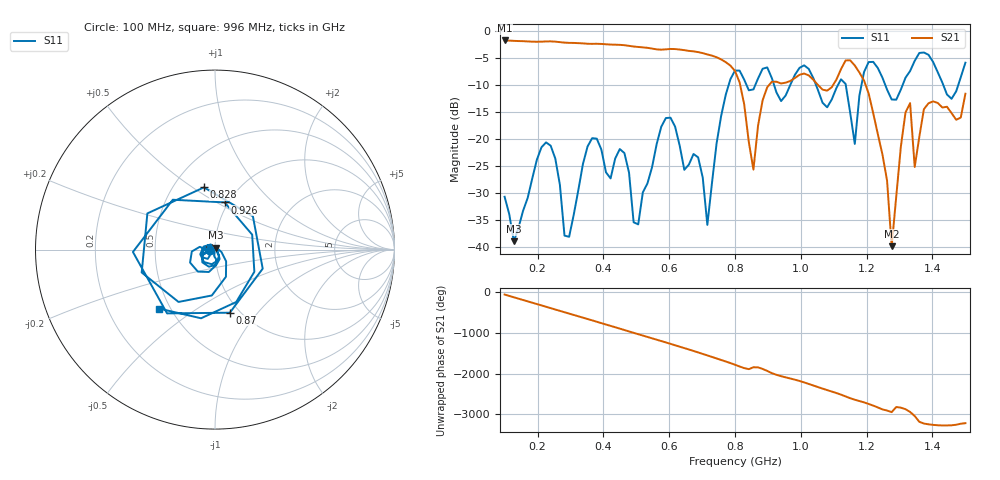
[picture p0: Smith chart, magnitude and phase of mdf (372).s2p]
! NanoVNA-App
! Date: 2025-09-25 15:41:19
! Start: 100MHz Stop: 1,5GHz Points: 101
! S-Parameter data: F S11 S21 S12 S22
# Hz S RI R 50
!  Frequency  S11_Real  S11_Imag  S21_Real  S21_Imag  S12_Real  S12_Imag  S22_Real  S22_Imag
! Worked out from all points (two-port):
!   101 points, 100 MHz to 1.5 GHz, reference 50 ohm
!   highest |S21| = -1.80 dB at 100 MHz (marker M1); lowest = -39.9 dB at 1.276 GHz (marker M2)
!   |S21| within 3 dB of the highest: start of sweep to 739.1 MHz
!   lowest |S11| = -39.0 dB at 128 MHz (marker M3), VSWR 1.02, Z = 50.3 + j1.08 ohm
!   |S11| at or under -10 dB: start of sweep to 781 MHz; 918.5 MHz to 968.3 MHz (49.81 MHz wide, 5.28 % of centre); 1.046 GHz to 1.113 GHz (67.56 MHz wide, 6.26 % of centre) (the widest 3 of 7)
!   S12 and S22 are empty: the file has one direction only
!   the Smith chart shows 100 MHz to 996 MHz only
!   S11 on the Smith chart (normalised r, x): 100 MHz: 0.94, -0.01; 828 MHz: 0.70, +0.56; 870 MHz: 0.90, -0.73; 926 MHz: 0.96, +0.55; 996 MHz: 0.43, -0.36
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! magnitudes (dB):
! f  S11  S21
! 100 MHz  -30.7  -1.8
! 128 MHz  -39.0  -1.9
! 212 MHz  -21.6  -2.0
! 282 MHz  -37.9  -2.2
! 338 MHz  -24.7  -2.3
! 464 MHz  -22.7  -2.7
! 506 MHz  -35.9  -3.0
! 576 MHz  -17.8  -3.5
! 716 MHz  -35.9  -4.4
! 800 MHz  -7.4  -7.5
! 828 MHz  -9.1  -13.6
! 856 MHz  -10.9  -25.7
! 870 MHz  -8.8  -17.6
! 926 MHz  -11.4  -9.4
! 996 MHz  -6.9  -8.2
! 1.038 GHz  -8.8  -9.1
! 1.164 GHz  -21.0  -6.4
! 1.192 GHz  -7.7  -9.2
! 1.276 GHz  -12.7  -39.9
! 1.318 GHz  -8.7  -15.1
! 1.346 GHz  -5.6  -25.2
! 1.5 GHz  -5.9  -11.7
